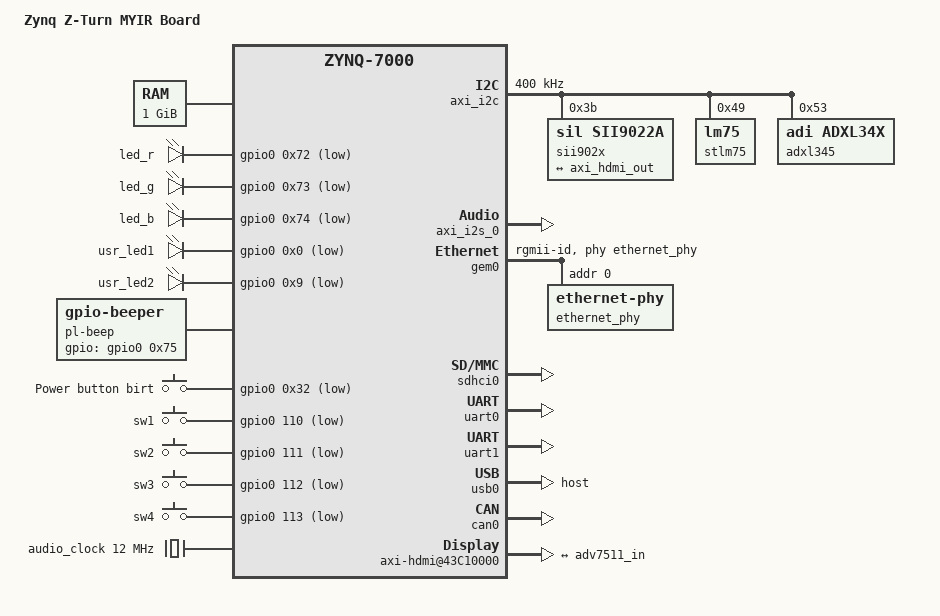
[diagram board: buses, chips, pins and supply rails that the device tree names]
/*
 *  Copyright (C) 2015 Andrea Merello <adnrea.merello@gmail.com>
 *
 *  Based on zynq-zed.dts which is:
 *  Copyright (C) 2011 - 2014 Xilinx
 *  Copyright (C) 2012 National Instruments Corp.
 *
 * This software is licensed under the terms of the GNU General Public
 * License version 2, as published by the Free Software Foundation, and
 * may be copied, distributed, and modified under those terms.
 *
 * This program is distributed in the hope that it will be useful,
 * but WITHOUT ANY WARRANTY; without even the implied warranty of
 * MERCHANTABILITY or FITNESS FOR A PARTICULAR PURPOSE.  See the
 * GNU General Public License for more details.
 */
/dts-v1/;
/include/ "zynq-7000.dtsi"

/ {
	model = "Zynq Z-Turn MYIR Board";
	compatible = "xlnx,zynq-7000";

	aliases {
		ethernet0 = &gem0;
		serial0 = &uart1;
		serial1 = &uart0;
	};

	memory {
		device_type = "memory";
		reg = <0x0 0x40000000>;
	};

	chosen {
		bootargs = "console=ttyPS0,115200 earlyprintk root=/dev/mmcblk0p2 rootwait";
	};

	gpio-leds {
		compatible = "gpio-leds";
		led_r {
			label = "led_r";
			gpios = <&gpio0 0x72 0x1>;
			default-state = "off";
			linux,default-trigger = "none";
		};

		led_g {
			label = "led_g";
			gpios = <&gpio0 0x73 0x1>;
			default-state = "off";
			linux,default-trigger = "none";
		};

		led_b {
			label = "led_b";
			gpios = <&gpio0 0x74 0x1>;
			default-state = "off";
			linux,default-trigger = "none";
		};

		usr_led1 {
			label = "usr_led1";
			gpios = <&gpio0 0x0 0x1>;
			default-state = "off";
			linux,default-trigger = "none";
		};

		usr_led2 {
			label = "usr_led2";
			gpios = <&gpio0 0x9 0x1>;
			default-state = "off";
			linux,default-trigger = "none";
		};
	};

	gpio-beep {
		compatible = "gpio-beeper";
		label = "pl-beep";
		gpios = <&gpio0 0x75 0x0>;
	};

	gpio-keys {
		compatible = "gpio-keys";
		#address-cells = <0x1>;
		#size-cells = <0x0>;
		autorepeat;

		button_power_at_0 {
			label = "Power button birt";
			/* EMI050, active low */
			gpios = <&gpio0 0x32 0x1>;
			linux,code = <0x74>;
			gpio-key,wakeup;
			autorepeat;
			/* uncomment the following line to
			 * make the button react only to a
			 * protracted pressure
			 */
			/* debounce-interval = <3000>; */
		};
		
		sw1 {
			label = "sw1";
			gpios = <&gpio0 110 1>;
			linux,code = <103>;
			gpio-key,wakeup;
			autorepeat;
		};
		sw2 {
			label = "sw2";
			gpios = <&gpio0 111 1>;
			linux,code = <104>;
			gpio-key,wakeup;
			autorepeat;
		};
		sw3 {
			label = "sw3";
			gpios = <&gpio0 112 1>;
			linux,code = <105>;
			gpio-key,wakeup;
			autorepeat;
		};
		sw4 {
			label = "sw4";
			gpios = <&gpio0 113 1>;
			linux,code = <106>;
			gpio-key,wakeup;
			autorepeat;
		};
	};
	
	 axi_i2c: i2c@41600000 {
			compatible = "xlnx,axi-iic-1.01.b", "xlnx,xps-iic-2.00.a";
		  reg = <0x41600000 0x10000>;
		  interrupt-parent = <&intc>;
		  interrupts = <0 58 0x4>;
		  clocks = <&clkc 15>;
		  clock-names = "pclk";
	};
	
	audio_clock: audio_clock {
			compatible = "fixed-clock";
			#clock-cells = <0>;
			clock-frequency = <12000000>;
		};
	
	axi_i2s_0: axi-i2s@0x43C20000 {
			compatible = "adi,axi-i2s-1.00.a";
			reg = <0x43C20000 0x1000>;
			dmas = <&dmac_s 1 &dmac_s 2>;
			dma-names = "tx", "rx";
			clocks = <&clkc 15>, <&audio_clock>;
			clock-names = "axi", "ref";

			#sound-dai-cells = <0>;
		};
	
	sii9022a_hdmi_snd {
			compatible = "simple-audio-card";
			simple-audio-card,name = "HDMI monitor";
			simple-audio-card,widgets =
				"Speaker", "Speaker";
			simple-audio-card,routing =
				"Speaker", "TMDS";

			simple-audio-card,dai-link@0 {
				format = "i2s";
				cpu {
					sound-dai = <&axi_i2s_0>;
					frame-master;
					bitclock-master;
				};
				codec {
					sound-dai = <&sii902x>;
				};
			};
		};
		
};


&axi_i2c {
//&i2c0 {
	status = "okay";
//  bus-id = <0x0>;
    clock-frequency = <400000>;
    xlnx,has-interrupt = <0x1>;
	
	#size-cells = <0>;
  #address-cells = <1>;
	    
	sii902x: sii902x@3b {
		      compatible = "sil,sii9022a";
		      reg = <0x3b>;
		      interrupt-parent = <&intc>;
		      interrupts = < 0 29 4 >;
	////		mode_str = "1920x1080";
	////	    	bits-per-pixel = <16>;
			
			#sound-dai-cells = <0>;
			
			ports {
					#address-cells = <1>;
					#size-cells = <0>;

					port@0 {
						reg = <0>;
						adv7511_in: endpoint {
							remote-endpoint = <&axi_hdmi_out>;
						};
					};

					port@1 {
						reg = <1>;
					};
				};		
		  };
	
	
		stlm75@49 {
			status = "okay";
			compatible = "lm75";
			reg = <0x49>;
	//		interrupt-parent = <&intc>;
			interrupts = < 0 32 4 >;
		};

		adxl345@53 {
			status = "okay";
			compatible = "adi,adxl34x", "adxl34x";
			reg = <0x53>;
			interrupt-parent = <&intc>;
			interrupts = <0x0 31 0x4>;
		};
};

&clkc {
	ps-clk-frequency = <33333333>;
	fclk-enable = <0xf>;
};

&gem0 {
	status = "okay";
	phy-mode = "rgmii-id";
	phy-handle = <&ethernet_phy>;
	interrupt-parent = <&intc>;
	
	ethernet_phy: ethernet-phy@0 {
	//	compatible = "atheros,ar8035";
        device_type = "ethernet-phy";
        reg = <0>;
	};
};

&sdhci0 {
	status = "okay";
	broken-cd;
	wp-inverted;
};

&uart0 {
	status = "okay";
};

&uart1 {
	status = "okay";
};

&usb0 {
	status = "okay";
	dr_mode = "host";
};

&can0 {
	status = "okay";
};

&amba {
	axivdma: axivdma@43000000 {
		compatible = "xlnx,axi-vdma-1.00.a";
		#address-cells = <0x1>;
		#size-cells = <0x1>;
		#dma-cells = <0x1>;
		#dma-channels = <0x1>;
		reg = <0x43000000 0x10000>;
		xlnx,num-fstores = <0x3>;
		interrupt-parent = <&intc>;

		dma-channel@43000000 {
			compatible = "xlnx,axi-vdma-mm2s-channel";
			interrupts = <0x0 0x3b 0x4>;
			xlnx,datawidth = <0x40>;
			xlnx,genlock-mode = <0x0>;
			xlnx,include-dre = <0x0>;
		};
	};

	hdmi_clock: axi-clkgen@43C00000 {
		compatible = "adi,axi-clkgen-2.00.a";
		reg = <0x43C00000 0x10000>;
		#clock-cells = <0x0>;
		clocks = <&clkc 0x10>;
	};

	axi-hdmi@43C10000 {
		compatible = "adi,axi-hdmi-tx-1.00.a";
		reg = <0x43C10000 0x10000>;
		encoder-slave = <&sii902x>;
		dmas = <&axivdma 0x0>;
		dma-names = "video";
		clocks = <&hdmi_clock>;
        adi,is-rgb;
		port {
			axi_hdmi_out: endpoint {
				remote-endpoint = <&adv7511_in>;
			};
		};
	};
};
